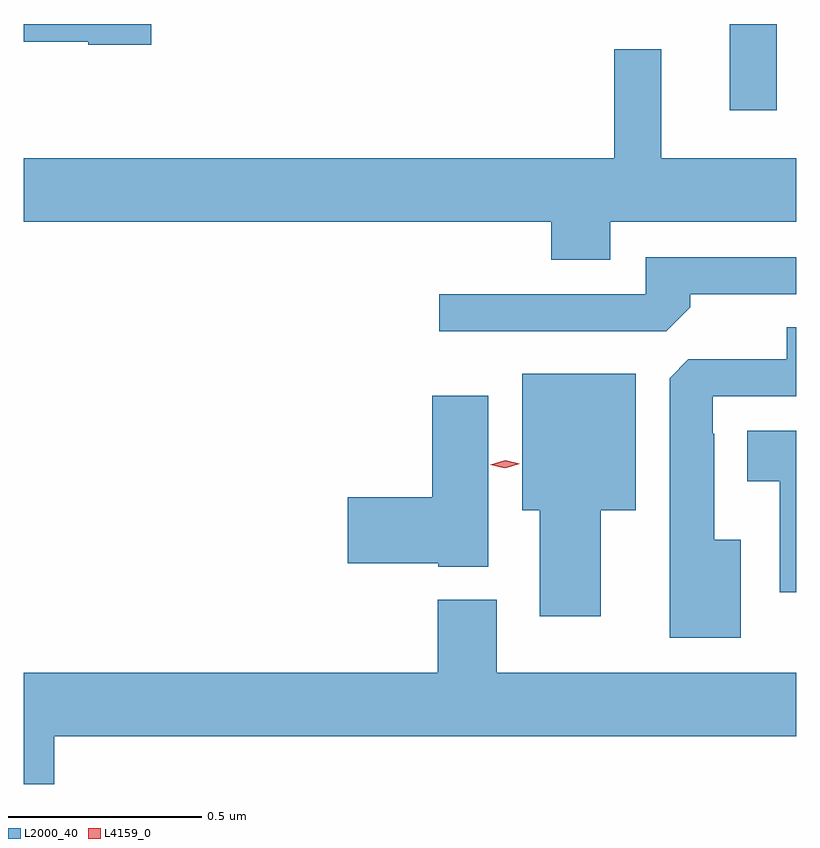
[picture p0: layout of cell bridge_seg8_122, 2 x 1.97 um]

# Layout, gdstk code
import gdstk
lib = gdstk.Library(unit=1e-6, precision=1e-09)
def R(c, l, rs):  # rectangles x0, y0, x1, y1
    for r in rs: c.add(gdstk.rectangle(r[:2], r[2:], *l))
def P(c, l, *ps):  # polygons
    for p in ps: c.add(gdstk.Polygon(p, *l))
L2000_40 = (2000, 40)
L4159_0 = (4159, 0)

bridge_seg8_122 = lib.new_cell('bridge_seg8_122')
R(bridge_seg8_122, L2000_40, [(838.781,1160.745,838.903,1160.968)])
P(bridge_seg8_122, L2000_40, [(837.283,1160.968),(836.953,1160.968),(836.953,1160.922),(837.12,1160.922),(837.12,1160.914),(837.283,1160.914)],
  [(836.953,1160.456),(838.319,1160.456),(838.319,1160.357),(838.471,1160.357),(838.471,1160.456),(838.953,1160.456),(838.953,1160.62),(838.603,1160.62),(838.603,1160.902),(838.482,1160.902),(838.482,1160.62),(836.953,1160.62)],
  [(838.679,1160.234),(838.679,1160.268),(838.953,1160.268),(838.953,1160.364),(838.563,1160.364),(838.563,1160.268),(838.029,1160.268),(838.029,1160.172),(838.617,1160.172)],
  [(838.81,1159.633),(838.741,1159.633),(838.741,1159.907),(838.737,1159.907),(838.737,1160.004),(838.953,1160.004),(838.953,1160.183),(838.928,1160.183),(838.928,1160.1),(838.674,1160.1),(838.625,1160.051),(838.625,1159.379),(838.81,1159.379)],
  [(838.447,1159.709),(838.537,1159.709),(838.537,1160.062),(838.244,1160.062),(838.244,1159.709),(838.289,1159.709),(838.289,1159.434),(838.447,1159.434)],
  [(838.156,1160.005),(838.01,1160.005),(838.01,1159.742),(837.792,1159.742),(837.792,1159.571),(838.026,1159.571),(838.026,1159.562),(838.156,1159.562)],
  [(838.953,1159.915),(838.826,1159.915),(838.826,1159.784),(838.91,1159.784),(838.91,1159.497),(838.953,1159.497)],
  [(837.032,1159.124),(838.953,1159.124),(838.953,1159.288),(838.177,1159.288),(838.177,1159.477),(838.025,1159.477),(838.025,1159.288),(836.953,1159.288),(836.953,1159),(837.032,1159)])
P(bridge_seg8_122, L4159_0, [(838.199,1159.818),(838.161,1159.827),(838.161,1159.827),(838.161,1159.827),(838.199,1159.838),(838.237,1159.829),(838.237,1159.829),(838.237,1159.829)])

lib.write_gds('bridge_seg8_122.gds')
